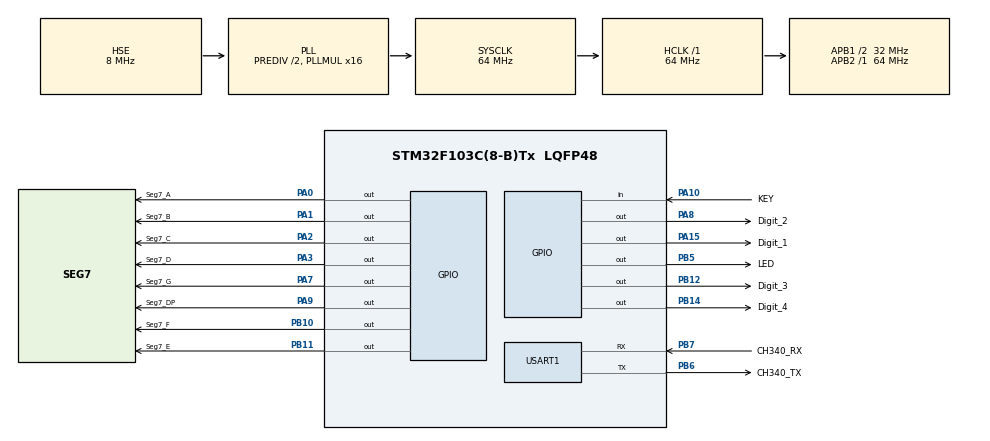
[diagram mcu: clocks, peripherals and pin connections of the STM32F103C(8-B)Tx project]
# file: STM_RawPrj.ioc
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Mcu.Family=STM32F1
Mcu.Name=STM32F103C(8-B)Tx
Mcu.Package=LQFP48
NVIC.PriorityGroup=NVIC_PRIORITYGROUP_4
PA0-WKUP.GPIO_Label=Seg7_A
PA0-WKUP.Signal=GPIO_Output
PA1.GPIO_Label=Seg7_B
PA1.Signal=GPIO_Output
PA10.GPIO_Label=KEY
PA10.Signal=GPIO_Input
PA13.GPIO_Label=SYS_SWDIO
PA13.Mode=Trace_Asynchronous_SW
PA13.Signal=SYS_JTMS-SWDIO
PA14.GPIO_Label=SYS_SWCLK
PA14.Mode=Trace_Asynchronous_SW
PA14.Signal=SYS_JTCK-SWCLK
PA15.GPIO_Label=Digit_1
PA15.Signal=GPIO_Output
PA2.GPIO_Label=Seg7_C
PA2.Signal=GPIO_Output
PA3.GPIO_Label=Seg7_D
PA3.Signal=GPIO_Output
PA7.GPIO_Label=Seg7_G
PA7.Signal=GPIO_Output
PA8.GPIO_Label=Digit_2
PA8.Signal=GPIO_Output
PA9.GPIO_Label=Seg7_DP
PA9.Signal=GPIO_Output
PB10.GPIO_Label=Seg7_F
PB10.Signal=GPIO_Output
PB11.GPIO_Label=Seg7_E
PB11.Signal=GPIO_Output
PB12.GPIO_Label=Digit_3
PB12.Signal=GPIO_Output
PB14.GPIO_Label=Digit_4
PB14.Signal=GPIO_Output
PB3.GPIO_Label=SYS_SWO
PB3.Mode=Trace_Asynchronous_SW
PB3.Signal=SYS_JTDO-TRACESWO
PB5.GPIO_Label=LED
PB5.Signal=GPIO_Output
PB6.GPIO_Label=CH340_TX
PB6.Mode=Asynchronous
PB6.Signal=USART1_TX
PB7.GPIO_Label=CH340_RX
PB7.Mode=Asynchronous
PB7.Signal=USART1_RX
PC14-OSC32_IN.Mode=LSE-External-Oscillator
PC14-OSC32_IN.Signal=RCC_OSC32_IN
PC15-OSC32_OUT.Mode=LSE-External-Oscillator
PC15-OSC32_OUT.Signal=RCC_OSC32_OUT
PD0-OSC_IN.Mode=HSE-External-Oscillator
PD0-OSC_IN.Signal=RCC_OSC_IN
PD1-OSC_OUT.Mode=HSE-External-Oscillator
PD1-OSC_OUT.Signal=RCC_OSC_OUT
ProjectManager.HeapSize=0x200
ProjectManager.StackSize=0x400
ProjectManager.TargetToolchain=MDK-ARM V5.32
RCC.AHBFreq_Value=64000000
RCC.APB1CLKDivider=RCC_HCLK_DIV2
RCC.APB1Freq_Value=32000000
RCC.APB1TimFreq_Value=64000000
RCC.APB2Freq_Value=64000000
RCC.APB2TimFreq_Value=64000000
RCC.EnbaleCSS=true
RCC.HCLKFreq_Value=64000000
RCC.HSEDivPLL=RCC_HSE_PREDIV_DIV2
RCC.HSICalibrationValue=16
RCC.PLLMUL=RCC_PLL_MUL16
RCC.PLLSourceVirtual=RCC_PLLSOURCE_HSE
RCC.RCC_MCOSource=RCC_MCO1SOURCE_HSE
RCC.SYSCLKFreq_VALUE=64000000
RCC.SYSCLKSource=RCC_SYSCLKSOURCE_PLLCLK
RCC.USBFreq_Value=64000000
USART1.VirtualMode=VM_ASYNC
board=custom

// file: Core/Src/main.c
/* USER CODE BEGIN Header */
/**
  ******************************************************************************
  * @file           : main.c
  * @brief          : Main program body
  ******************************************************************************
  * @attention
  *
  * Copyright (c) 2025 STMicroelectronics.
  * All rights reserved.
  *
  * This software is licensed under terms that can be found in the LICENSE file
  * in the root directory of this software component.
  * If no LICENSE file comes with this software, it is provided AS-IS.
  *
  ******************************************************************************
  */
/* USER CODE END Header */
#include "main.h"
#include "usart.h"
#include "gpio.h"

/* USER CODE BEGIN Includes */
#include "akareza.h"
/* USER CODE END Includes */

/* USER CODE BEGIN PV */
const uint8_t Seg7_cc[16] = {0x3F, 0x06, 0x5B, 0x4F, 0x66, 0x6D, 0x7D, 0x07, 0x7F, 0x6F, 0x77, 0x7C, 0x39, 0x5E, 0x79, 0x71};
uint16_t Counter = 1234;
uint16_t Delay   = 1000;
/* USER CODE END PV */

void SystemClock_Config(void);

/* USER CODE BEGIN 0 */
void Seg7_Puti(uint16_t Value)
{
	uint8_t Seg7_Data = 0;
	static uint8_t _digit = 0;
	uint8_t Segment[4] = {0, 0, 0, 0};

	Segment[3] = Value % 10;
	Value /= 10;
	Segment[2] = Value % 10;
	Value /= 10;
	Segment[1] = Value % 10;
	Value /= 10;
	Segment[0] = Value % 10;

	HAL_GPIO_WritePin(Digit_1_GPIO_Port, Digit_1_Pin, GPIO_PIN_RESET);
	HAL_GPIO_WritePin(Digit_2_GPIO_Port, Digit_2_Pin, GPIO_PIN_RESET);
	HAL_GPIO_WritePin(Digit_3_GPIO_Port, Digit_3_Pin, GPIO_PIN_RESET);
	HAL_GPIO_WritePin(Digit_4_GPIO_Port, Digit_4_Pin, GPIO_PIN_RESET);

	Seg7_Data = Seg7_cc[Segment[_digit]];

	HAL_GPIO_WritePin(Seg7_A_GPIO_Port, Seg7_A_Pin, bitCheck(Seg7_Data, 0));
	HAL_GPIO_WritePin(Seg7_B_GPIO_Port, Seg7_B_Pin, bitCheck(Seg7_Data, 1));
	HAL_GPIO_WritePin(Seg7_C_GPIO_Port, Seg7_C_Pin, bitCheck(Seg7_Data, 2));
	HAL_GPIO_WritePin(Seg7_D_GPIO_Port, Seg7_D_Pin, bitCheck(Seg7_Data, 3));
	HAL_GPIO_WritePin(Seg7_E_GPIO_Port, Seg7_E_Pin, bitCheck(Seg7_Data, 4));
	HAL_GPIO_WritePin(Seg7_F_GPIO_Port, Seg7_F_Pin, bitCheck(Seg7_Data, 5));
	HAL_GPIO_WritePin(Seg7_G_GPIO_Port, Seg7_G_Pin, bitCheck(Seg7_Data, 6));

	switch(_digit)
	{
		case 0:
			HAL_GPIO_WritePin(Digit_1_GPIO_Port, Digit_1_Pin, GPIO_PIN_SET);
		break;

		case 1:
			HAL_GPIO_WritePin(Digit_2_GPIO_Port, Digit_2_Pin, GPIO_PIN_SET);
		break;

		case 2:
			HAL_GPIO_WritePin(Digit_3_GPIO_Port, Digit_3_Pin, GPIO_PIN_SET);
		break;

		case 3:
			HAL_GPIO_WritePin(Digit_4_GPIO_Port, Digit_4_Pin, GPIO_PIN_SET);
		break;
	};

	_digit++;
	if(_digit > 3)
	{
		_digit = 0;
	};

};
/* USER CODE END 0 */

int main(void)
{

  /* MCU Configuration--------------------------------------------------------*/

  /* Reset of all peripherals, Initializes the Flash interface and the Systick. */
  HAL_Init();

  /* Configure the system clock */
  SystemClock_Config();

  /* Initialize all configured peripherals */
  MX_GPIO_Init();
  MX_USART1_UART_Init();

  /* Infinite loop */
  while (1)
  {

    /* USER CODE BEGIN 3 */
		Seg7_Puti(Counter);
		//HAL_Delay(Delay);
  }
  /* USER CODE END 3 */
}

void SystemClock_Config(void)
{
  RCC_OscInitTypeDef RCC_OscInitStruct = {0};
  RCC_ClkInitTypeDef RCC_ClkInitStruct = {0};

  /** Initializes the RCC Oscillators according to the specified parameters
  * in the RCC_OscInitTypeDef structure.
  */
  RCC_OscInitStruct.OscillatorType = RCC_OSCILLATORTYPE_HSE;
  RCC_OscInitStruct.HSEState = RCC_HSE_ON;
  RCC_OscInitStruct.HSEPredivValue = RCC_HSE_PREDIV_DIV2;
  RCC_OscInitStruct.HSIState = RCC_HSI_ON;
  RCC_OscInitStruct.PLL.PLLState = RCC_PLL_ON;
  RCC_OscInitStruct.PLL.PLLSource = RCC_PLLSOURCE_HSE;
  RCC_OscInitStruct.PLL.PLLMUL = RCC_PLL_MUL16;
  if (HAL_RCC_OscConfig(&RCC_OscInitStruct) != HAL_OK)
  {
    Error_Handler();
  }

  /** Initializes the CPU, AHB and APB buses clocks
  */
  RCC_ClkInitStruct.ClockType = RCC_CLOCKTYPE_HCLK|RCC_CLOCKTYPE_SYSCLK
                              |RCC_CLOCKTYPE_PCLK1|RCC_CLOCKTYPE_PCLK2;
  RCC_ClkInitStruct.SYSCLKSource = RCC_SYSCLKSOURCE_PLLCLK;
  RCC_ClkInitStruct.AHBCLKDivider = RCC_SYSCLK_DIV1;
  RCC_ClkInitStruct.APB1CLKDivider = RCC_HCLK_DIV2;
  RCC_ClkInitStruct.APB2CLKDivider = RCC_HCLK_DIV1;

  if (HAL_RCC_ClockConfig(&RCC_ClkInitStruct, FLASH_LATENCY_2) != HAL_OK)
  {
    Error_Handler();
  }

  /** Enables the Clock Security System
  */
  HAL_RCC_EnableCSS();
}

void Error_Handler(void)
{
  __disable_irq();
  while (1)
  {
  }
}
